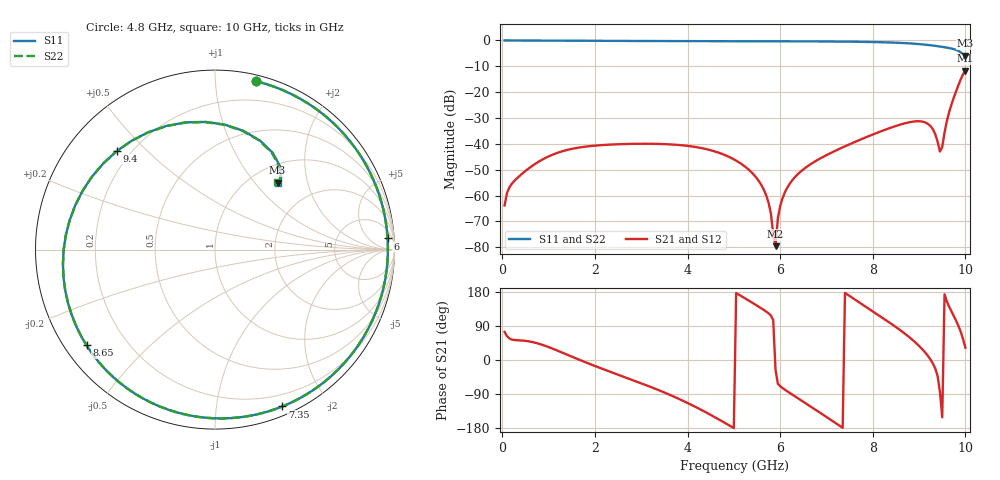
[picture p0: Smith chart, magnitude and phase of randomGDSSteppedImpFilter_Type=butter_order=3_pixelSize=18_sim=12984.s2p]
! freq	dB(S11)	phase(S11)	dB(S12)	phase(S12)
!  dB(S21)	phase(S21)	dB(S22)	phase(S22)
!S-par simulation data
#  GHz  S  DB  R 50
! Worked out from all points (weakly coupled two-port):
!   200 points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, 50 MHz to 10 GHz, reference 50 ohm
!   highest |S21| = -11.67 dB at 10 GHz (marker M1); lowest = -79.6 dB at 5.9 GHz (marker M2)
!   lowest |S11| = -5.8 dB at 10 GHz (marker M3), VSWR 3.08, Z = 65.7 + j66.1 ohm
!   |S11| at or under -10 dB: nowhere
!   |S22| runs from -5.9 to 0.0 dB; largest |S21 - S12| = 0
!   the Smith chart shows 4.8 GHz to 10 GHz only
!   S11 on the Smith chart (normalised r, x): 4.8 GHz: 0.05, +1.27; 6 GHz: 13, +23; 7.35 GHz: 0.08, -1.51; 8.65 GHz: 0.06, -0.33; 9.4 GHz: 0.15, +0.41; 10 GHz: 1.31, +1.32
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0.05  -0.00 -2.8  -63.83 74.1  -63.83 74.1  -0.00 -2.8
0.2  -0.00 -11.3  -55.60 54.2  -55.60 54.2  -0.00 -11.3
0.6  -0.03 -33.9  -49.12 48.6  -49.12 48.6  -0.03 -33.9
1.75  -0.13 -98.1  -41.20 -3.7  -41.20 -3.7  -0.13 -98.1
2.65  -0.19 -149.4  -40.07 -45.4  -40.07 -45.4  -0.19 -149.4
3.4  -0.24 165.7  -40.05 -80.7  -40.05 -80.7  -0.24 165.7
4.15  -0.28 118.3  -41.16 -122.4  -41.16 -122.4  -0.28 118.3
4.8  -0.30 76.4  -44.29 -165.5  -44.29 -165.5  -0.30 76.4
5.05  -0.31 60.5  -46.49 176.7  -46.49 176.7  -0.31 60.5
5.65  -0.31 23.9  -57.86 131.8  -57.86 131.8  -0.31 23.9
5.8  -0.32 15.1  -66.92 117.5  -66.92 117.5  -0.32 15.1
5.9  -0.32 9.4  -79.60 -25.6  -79.60 -25.6  -0.32 9.4
6  -0.32 3.7  -64.14 -69.0  -64.14 -69.0  -0.32 3.7
6.7  -0.36 -33.8  -47.39 -126.2  -47.39 -126.2  -0.36 -33.8
7.35  -0.44 -66.8  -41.37 -178.9  -41.37 -178.9  -0.43 -66.7
8.35  -0.77 -122.0  -34.01 99.7  -34.01 99.7  -0.76 -121.8
8.65  -0.99 -143.3  -32.26 73.5  -32.26 73.5  -0.98 -143.0
9.15  -1.66 168.5  -31.86 17.2  -31.86 17.2  -1.65 169.0
9.4  -2.21 134.9  -39.19 -42.2  -39.19 -42.2  -2.21 135.5
9.5  -2.48 119.3  -41.22 -151.3  -41.22 -151.3  -2.47 120.0
9.7  -3.12 85.3  -24.72 128.1  -24.72 128.1  -3.12 86.0
10  -5.85 46.9  -11.67 32.5  -11.67 32.5  -5.88 47.5
